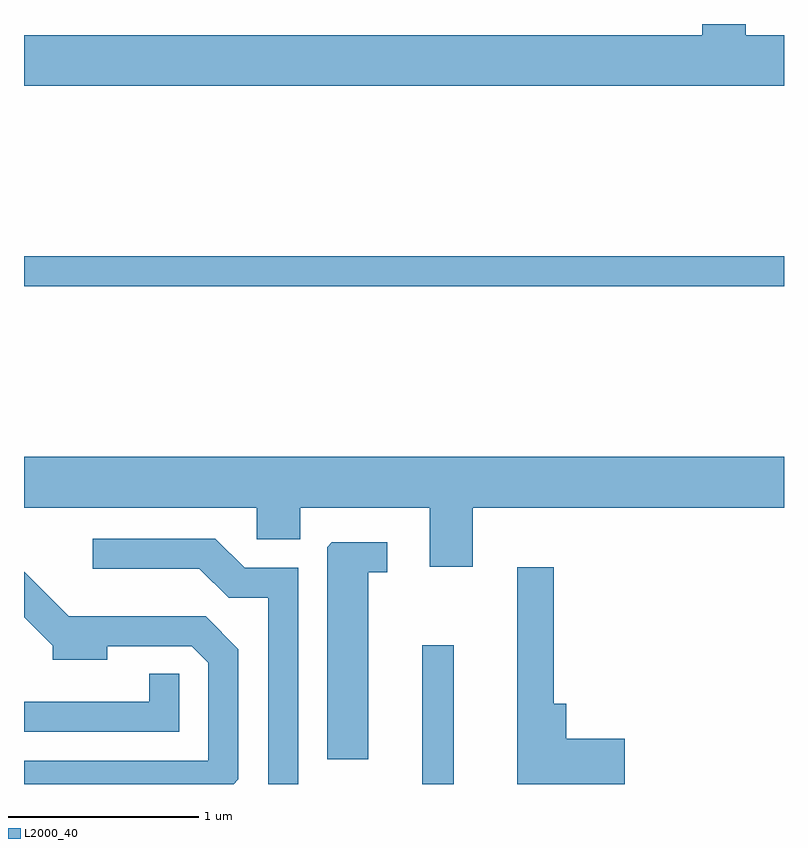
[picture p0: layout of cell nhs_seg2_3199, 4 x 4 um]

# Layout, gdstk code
import gdstk
lib = gdstk.Library(unit=1e-6, precision=1e-09)
def R(c, l, rs):  # rectangles x0, y0, x1, y1
    for r in rs: c.add(gdstk.rectangle(r[:2], r[2:], *l))
def P(c, l, *ps):  # polygons
    for p in ps: c.add(gdstk.Polygon(p, *l))
L2000_40 = (2000, 40)

nhs_seg2_3199 = lib.new_cell('nhs_seg2_3199')
R(nhs_seg2_3199, L2000_40, [(281.706,995.802,281.874,996.533), (279.611,998.421,283.611,998.579)])
P(nhs_seg2_3199, L2000_40, [(283.611,999.744),(283.409,999.744),(283.409,999.802),(283.181,999.802),(283.181,999.744),(279.611,999.744),(279.611,999.476),(283.611,999.476)],
  [(281.974,997.256),(283.611,997.256),(283.611,997.524),(279.611,997.524),(279.611,997.256),(280.836,997.256),(280.836,997.091),(281.064,997.091),(281.064,997.256),(281.746,997.256),(281.746,996.946),(281.974,996.946)],
  [(281.054,996.939),(280.772,996.939),(280.617,997.094),(279.973,997.094),(279.973,996.936),(280.534,996.936),(280.689,996.781),(280.896,996.781),(280.896,995.802),(281.054,995.802)],
  [(281.424,996.916),(281.523,996.916),(281.523,997.074),(281.232,997.074),(281.206,997.049),(281.206,995.931),(281.424,995.931)],
  [(282.774,996.039),(282.464,996.039),(282.464,996.224),(282.399,996.224),(282.399,996.944),(282.206,996.944),(282.206,995.802),(282.774,995.802)],
  [(280.739,995.827),(280.739,996.512),(280.567,996.684),(279.847,996.684),(279.611,996.92),(279.611,996.679),(279.761,996.529),(279.761,996.456),(280.049,996.456),(280.049,996.526),(280.494,996.526),(280.581,996.439),(280.581,995.924),(279.611,995.924),(279.611,995.802),(280.714,995.802)],
  [(280.429,996.383),(280.271,996.383),(280.271,996.234),(279.611,996.234),(279.611,996.076),(280.429,996.076)])

lib.write_gds('nhs_seg2_3199.gds')
